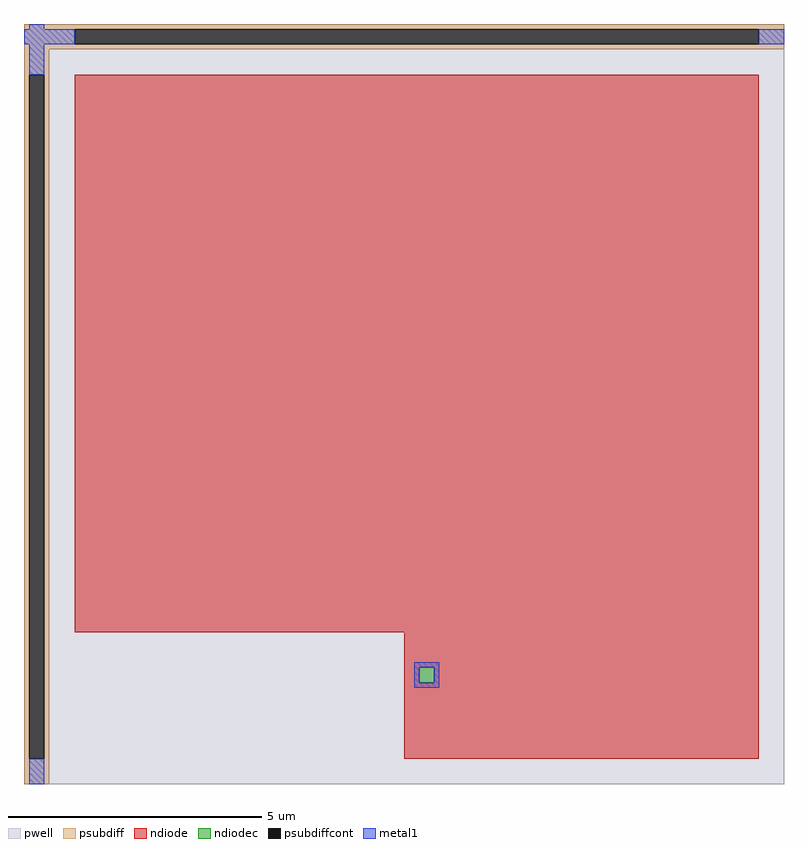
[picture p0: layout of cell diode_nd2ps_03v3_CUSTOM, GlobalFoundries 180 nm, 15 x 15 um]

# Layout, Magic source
magic
tech gf180mcuD
<< pwell >>
rect -140 -180 160 120
<< psubdiff >>
rect -140 118 160 120
rect -140 112 -120 118
rect 150 112 160 118
rect -140 110 160 112
rect -140 100 -130 110
rect -140 -170 -138 100
rect -132 -170 -130 100
rect -140 -180 -130 -170
<< psubdiffcont >>
rect -120 112 150 118
rect -138 -170 -132 100
<< ndiode >>
rect -120 -120 150 100
rect 10 -134 150 -120
rect 10 -140 16 -134
rect 22 -140 150 -134
rect 10 -170 150 -140
<< ndiodec >>
rect 16 -140 22 -134
<< metal1 >>
rect -138 118 -132 120
rect -140 112 -120 118
rect 150 112 160 118
rect -138 100 -132 112
rect 14 -134 24 -132
rect 14 -140 16 -134
rect 22 -140 24 -134
rect 14 -142 24 -140
rect -138 -180 -132 -170
<< properties >>
string FIXED_BBOX -140 -180 160 120
string gencell diode_nd2ps_03v3
string library gf180mcu
string parameters w 13.5 l 13.5 area 166.0 peri 54.0 nx 1 ny 1 dummy 0 lmin 0.45 wmin 0.45 class diode elc 1 erc 1 etc 1 ebc 0 doverlap 0 full_metal 0 compatible {diode_nd2ps_03v3 diode_nd2ps_06v0}
<< end >>
